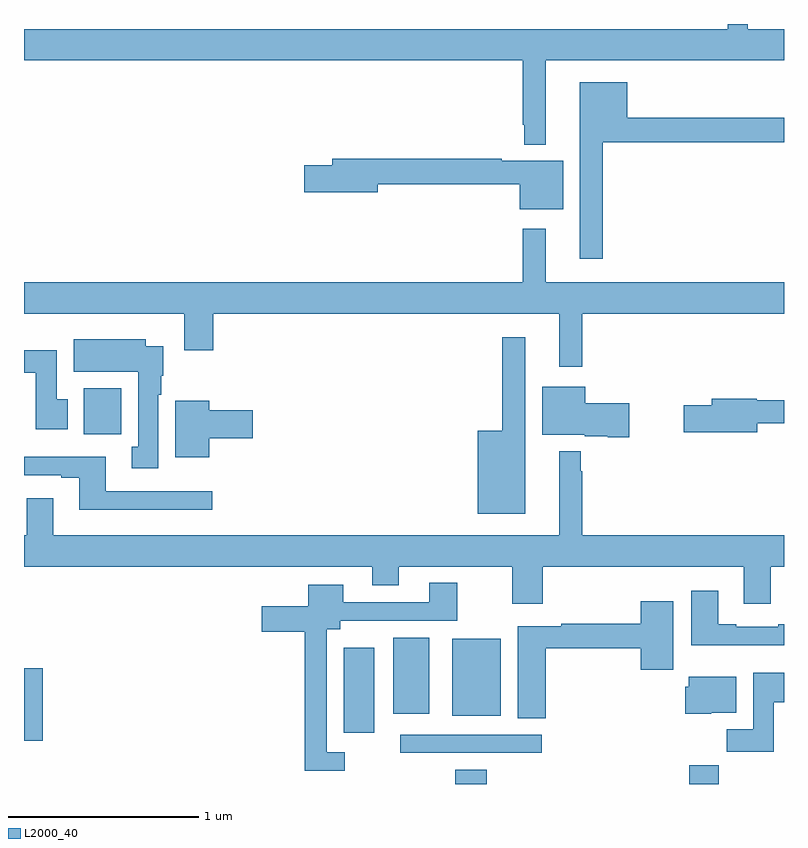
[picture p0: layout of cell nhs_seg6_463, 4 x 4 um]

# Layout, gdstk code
import gdstk
lib = gdstk.Library(unit=1e-6, precision=1e-09)
def R(c, l, rs):  # rectangles x0, y0, x1, y1
    for r in rs: c.add(gdstk.rectangle(r[:2], r[2:], *l))
def P(c, l, *ps):  # polygons
    for p in ps: c.add(gdstk.Polygon(p, *l))
L2000_40 = (2000, 40)

nhs_seg6_463 = lib.new_cell('nhs_seg6_463')
R(nhs_seg6_463, L2000_40, [(139.271,971.5,139.436,971.575), (140.501,971.5,140.657,971.6), (138.981,971.664,139.726,971.76), (137,971.727,137.099,972.108), (138.683,971.769,138.844,972.217), (139.253,971.858,139.51,972.265), (138.944,971.87,139.132,972.271), (137.315,973.34,137.512,973.582)])
P(nhs_seg6_463, L2000_40, [(139.747,975.308),(141,975.308),(141,975.472),(140.809,975.472),(140.809,975.5),(140.705,975.5),(140.705,975.472),(137,975.472),(137,975.308),(139.626,975.308),(139.626,974.971),(139.632,974.971),(139.632,974.864),(139.747,974.864)],
  [(140.047,974.878),(141,974.878),(141,975.007),(140.176,975.007),(140.176,975.193),(139.925,975.193),(139.925,974.265),(140.047,974.265)],
  [(139.837,974.779),(139.514,974.779),(139.514,974.792),(138.623,974.792),(138.623,974.756),(138.474,974.756),(138.474,974.614),(138.862,974.614),(138.862,974.656),(139.61,974.656),(139.61,974.525),(139.837,974.525)],
  [(139.939,973.976),(141,973.976),(141,974.14),(139.747,974.14),(139.747,974.422),(139.626,974.422),(139.626,974.14),(137,974.14),(137,973.976),(137.843,973.976),(137.843,973.782),(137.996,973.782),(137.996,973.976),(139.817,973.976),(139.817,973.695),(139.939,973.695)],
  [(139.639,973.852),(139.518,973.852),(139.518,973.36),(139.388,973.36),(139.388,972.923),(139.639,972.923)],
  [(137.707,973.55),(137.722,973.55),(137.722,973.65),(137.734,973.65),(137.734,973.804),(137.641,973.804),(137.641,973.84),(137.261,973.84),(137.261,973.67),(137.6,973.67),(137.6,973.274),(137.567,973.274),(137.567,973.161),(137.707,973.161)],
  [(137.23,973.524),(137.173,973.524),(137.173,973.782),(137,973.782),(137,973.664),(137.063,973.664),(137.063,973.368),(137.23,973.368)],
  [(140.185,973.503),(139.954,973.503),(139.954,973.591),(139.727,973.591),(139.727,973.337),(139.95,973.337),(139.95,973.331),(140.072,973.331),(140.072,973.325),(140.185,973.325)],
  [(140.86,973.399),(141,973.399),(141,973.52),(140.856,973.52),(140.856,973.528),(140.621,973.528),(140.621,973.494),(140.472,973.494),(140.472,973.352),(140.86,973.352)],
  [(137.974,973.319),(138.205,973.319),(138.205,973.466),(137.974,973.466),(137.974,973.516),(137.795,973.516),(137.795,973.22),(137.974,973.22)],
  [(139.73,972.644),(140.789,972.644),(140.789,972.45),(140.929,972.45),(140.929,972.644),(141,972.644),(141,972.808),(139.939,972.808),(139.939,973.145),(139.931,973.145),(139.931,973.252),(139.817,973.252),(139.817,972.808),(137.155,972.808),(137.155,973.003),(137.015,973.003),(137.015,972.808),(137,972.808),(137,972.644),(138.833,972.644),(138.833,972.545),(138.973,972.545),(138.973,972.644),(139.57,972.644),(139.57,972.45),(139.73,972.45)],
  [(137.992,973.041),(137.431,973.041),(137.431,973.222),(137,973.222),(137,973.125),(137.195,973.125),(137.195,973.113),(137.291,973.113),(137.291,972.944),(137.992,972.944)],
  [(138.688,971.667),(138.594,971.667),(138.594,972.314),(138.664,972.314),(138.664,972.36),(139.281,972.36),(139.281,972.559),(139.133,972.559),(139.133,972.456),(138.679,972.456),(138.679,972.55),(138.497,972.55),(138.497,972.436),(138.252,972.436),(138.252,972.302),(138.478,972.302),(138.478,971.571),(138.688,971.571)],
  [(141,972.34),(140.969,972.34),(140.969,972.327),(140.749,972.327),(140.749,972.34),(140.653,972.34),(140.653,972.517),(140.513,972.517),(140.513,972.23),(141,972.23)],
  [(139.745,972.214),(140.246,972.214),(140.246,972.102),(140.416,972.102),(140.416,972.463),(140.246,972.463),(140.246,972.343),(139.828,972.343),(139.828,972.33),(139.598,972.33),(139.598,971.845),(139.745,971.845)],
  [(140.947,971.929),(141,971.929),(141,972.085),(140.837,972.085),(140.837,971.788),(140.698,971.788),(140.698,971.67),(140.947,971.67)],
  [(140.616,971.876),(140.749,971.876),(140.749,972.064),(140.498,972.064),(140.498,972.012),(140.48,972.012),(140.48,971.87),(140.616,971.87)])

lib.write_gds('nhs_seg6_463.gds')
